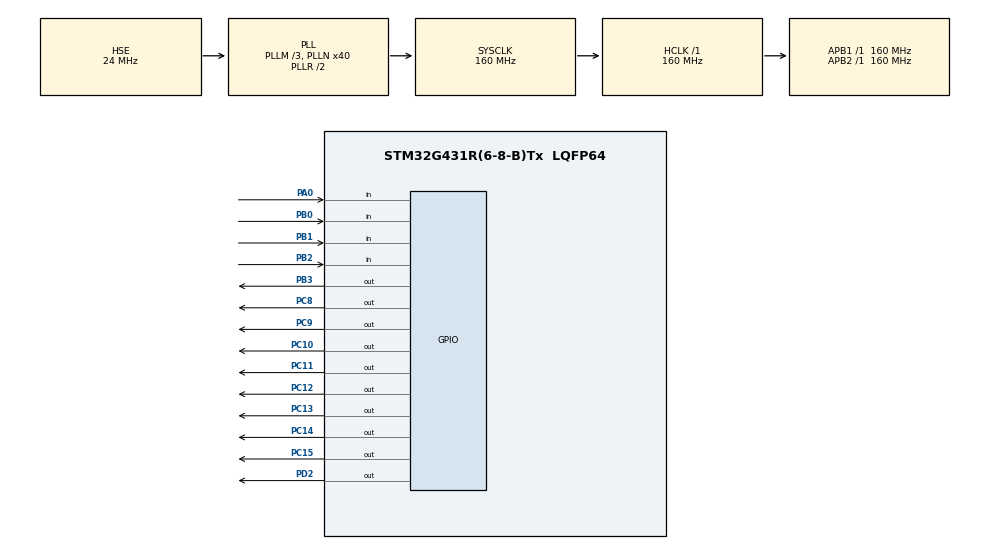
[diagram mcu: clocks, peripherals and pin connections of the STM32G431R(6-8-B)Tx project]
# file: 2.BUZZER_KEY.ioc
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Mcu.Family=STM32G4
Mcu.Name=STM32G431R(6-8-B)Tx
Mcu.Package=LQFP64
NVIC.PriorityGroup=NVIC_PRIORITYGROUP_4
PA0.GPIO_PuPd=GPIO_PULLUP
PA0.Signal=GPIO_Input
PA13.Mode=Serial_Wire
PA13.Signal=SYS_JTMS-SWDIO
PA14.Mode=Serial_Wire
PA14.Signal=SYS_JTCK-SWCLK
PB0.GPIO_PuPd=GPIO_PULLUP
PB0.Signal=GPIO_Input
PB1.GPIO_PuPd=GPIO_PULLUP
PB1.Signal=GPIO_Input
PB2.GPIO_PuPd=GPIO_PULLUP
PB2.Signal=GPIO_Input
PB3.PinState=GPIO_PIN_SET
PB3.Signal=GPIO_Output
PC10.PinState=GPIO_PIN_SET
PC10.Signal=GPIO_Output
PC11.PinState=GPIO_PIN_SET
PC11.Signal=GPIO_Output
PC12.Signal=GPIO_Output
PC13.Signal=GPIO_Output
PC14-OSC32_IN.Signal=GPIO_Output
PC15-OSC32_OUT.Signal=GPIO_Output
PC8.PinState=GPIO_PIN_SET
PC8.Signal=GPIO_Output
PC9.PinState=GPIO_PIN_SET
PC9.Signal=GPIO_Output
PD2.PinState=GPIO_PIN_SET
PD2.Signal=GPIO_Output
PF0-OSC_IN.Mode=HSE-External-Oscillator
PF0-OSC_IN.Signal=RCC_OSC_IN
PF1-OSC_OUT.Mode=HSE-External-Oscillator
PF1-OSC_OUT.Signal=RCC_OSC_OUT
ProjectManager.HeapSize=0x200
ProjectManager.StackSize=0x400
ProjectManager.TargetToolchain=MDK-ARM V5.27
RCC.ADC12Freq_Value=160000000
RCC.AHBFreq_Value=160000000
RCC.APB1Freq_Value=160000000
RCC.APB1TimFreq_Value=160000000
RCC.APB2Freq_Value=160000000
RCC.APB2TimFreq_Value=160000000
RCC.CortexFreq_Value=160000000
RCC.EXTERNAL_CLOCK_VALUE=12288000
RCC.HCLKFreq_Value=160000000
RCC.HSE_VALUE=24000000
RCC.HSI48_VALUE=48000000
RCC.HSI_VALUE=16000000
RCC.LSE_VALUE=32768
RCC.PLLM=RCC_PLLM_DIV3
RCC.PLLN=40
RCC.PLLSourceVirtual=RCC_PLLSOURCE_HSE
RCC.SYSCLKFreq_VALUE=160000000
RCC.SYSCLKSource=RCC_SYSCLKSOURCE_PLLCLK
RCC.USBFreq_Value=160000000
RCC.VCOOutputFreq_Value=320000000
VP_SYS_VS_DBSignals.Mode=DisableDeadBatterySignals
board=custom

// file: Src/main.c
/* USER CODE BEGIN Header */
/**
  ******************************************************************************
  * @file           : main.c
  * @brief          : Main program body
  ******************************************************************************
  * @attention
  *
  * <h2><center>&copy; Copyright (c) 2022 STMicroelectronics.
  * All rights reserved.</center></h2>
  *
  * This software component is licensed by ST under BSD 3-Clause license,
  * the "License"; You may not use this file except in compliance with the
  * License. You may obtain a copy of the License at:
  *                        opensource.org/licenses/BSD-3-Clause
  *
  ******************************************************************************
  */
/* USER CODE END Header */

#include "main.h"

/* USER CODE BEGIN PTD */

enum Key_All_State{
	Key_Check,
	Key_Press,
	Key_Release
};

enum Key_All_State Key_State = Key_Check;

/* USER CODE END PTD */

/* USER CODE BEGIN PD */
//KeyDef
#define B4 HAL_GPIO_ReadPin(GPIOA,GPIO_PIN_0)
#define B3 HAL_GPIO_ReadPin(GPIOB,GPIO_PIN_2)
#define B2 HAL_GPIO_ReadPin(GPIOB,GPIO_PIN_1)
#define B1 HAL_GPIO_ReadPin(GPIOB,GPIO_PIN_0)

//LedDef
#define L1_On HAL_GPIO_WritePin(GPIOC,GPIO_PIN_8,GPIO_PIN_RESET)
#define L2_On HAL_GPIO_WritePin(GPIOC,GPIO_PIN_9,GPIO_PIN_RESET)
#define L3_On HAL_GPIO_WritePin(GPIOC,GPIO_PIN_10,GPIO_PIN_RESET)
#define L4_On HAL_GPIO_WritePin(GPIOC,GPIO_PIN_11,GPIO_PIN_RESET)
#define L1_Off HAL_GPIO_WritePin(GPIOC,GPIO_PIN_8,GPIO_PIN_SET)
#define L2_Off HAL_GPIO_WritePin(GPIOC,GPIO_PIN_9,GPIO_PIN_SET)
#define L3_Off HAL_GPIO_WritePin(GPIOC,GPIO_PIN_10,GPIO_PIN_SET)
#define L4_Off HAL_GPIO_WritePin(GPIOC,GPIO_PIN_11,GPIO_PIN_SET)

#define L1_Tog HAL_GPIO_TogglePin(GPIOC,GPIO_PIN_8)
#define L2_Tog HAL_GPIO_TogglePin(GPIOC,GPIO_PIN_9)
#define L3_Tog HAL_GPIO_TogglePin(GPIOC,GPIO_PIN_10)

//BuzzerDef
#define BuzzerOn HAL_GPIO_WritePin(GPIOB,GPIO_PIN_3,GPIO_PIN_RESET)
#define BuzzerOff HAL_GPIO_WritePin(GPIOB,GPIO_PIN_3,GPIO_PIN_SET)
/* USER CODE END PD */

/* USER CODE BEGIN PV */

uint32_t Key_Down_Time=20;
uint8_t Key_Value=0;
uint8_t Key_Flag=0;

/* USER CODE END PV */

void SystemClock_Config(void);
static void MX_GPIO_Init(void);
/* USER CODE BEGIN PFP */

void KeyScan(void);

/* USER CODE END PFP */

int main(void)
{

  /* MCU Configuration--------------------------------------------------------*/

  /* Reset of all peripherals, Initializes the Flash interface and the Systick. */
  HAL_Init();

  /* Configure the system clock */
  SystemClock_Config();

  /* Initialize all configured peripherals */
  MX_GPIO_Init();

  /* Infinite loop */
  /* USER CODE BEGIN WHILE */
  while (1)
  {
	  if(Key_Flag)
	  {
		if(Key_Value == 1 && Key_Down_Time <= 1000) L1_Tog;
		if(Key_Value == 1 && Key_Down_Time > 1000) BuzzerOn;

		if(Key_Value == 2) BuzzerOff;
		if(Key_Value == 3) L2_Tog;
		if(Key_Value == 4) L3_Tog;
		Key_Flag=0;
		Key_Down_Time=20;
	  }
    /* USER CODE END WHILE */
  }
}

void SystemClock_Config(void)
{
  RCC_OscInitTypeDef RCC_OscInitStruct = {0};
  RCC_ClkInitTypeDef RCC_ClkInitStruct = {0};

  /** Configure the main internal regulator output voltage
  */
  HAL_PWREx_ControlVoltageScaling(PWR_REGULATOR_VOLTAGE_SCALE1_BOOST);
  /** Initializes the CPU, AHB and APB busses clocks
  */
  RCC_OscInitStruct.OscillatorType = RCC_OSCILLATORTYPE_HSE;
  RCC_OscInitStruct.HSEState = RCC_HSE_ON;
  RCC_OscInitStruct.PLL.PLLState = RCC_PLL_ON;
  RCC_OscInitStruct.PLL.PLLSource = RCC_PLLSOURCE_HSE;
  RCC_OscInitStruct.PLL.PLLM = RCC_PLLM_DIV3;
  RCC_OscInitStruct.PLL.PLLN = 40;
  RCC_OscInitStruct.PLL.PLLP = RCC_PLLP_DIV2;
  RCC_OscInitStruct.PLL.PLLQ = RCC_PLLQ_DIV2;
  RCC_OscInitStruct.PLL.PLLR = RCC_PLLR_DIV2;
  if (HAL_RCC_OscConfig(&RCC_OscInitStruct) != HAL_OK)
  {
    Error_Handler();
  }
  /** Initializes the CPU, AHB and APB busses clocks
  */
  RCC_ClkInitStruct.ClockType = RCC_CLOCKTYPE_HCLK|RCC_CLOCKTYPE_SYSCLK
                              |RCC_CLOCKTYPE_PCLK1|RCC_CLOCKTYPE_PCLK2;
  RCC_ClkInitStruct.SYSCLKSource = RCC_SYSCLKSOURCE_PLLCLK;
  RCC_ClkInitStruct.AHBCLKDivider = RCC_SYSCLK_DIV1;
  RCC_ClkInitStruct.APB1CLKDivider = RCC_HCLK_DIV1;
  RCC_ClkInitStruct.APB2CLKDivider = RCC_HCLK_DIV1;

  if (HAL_RCC_ClockConfig(&RCC_ClkInitStruct, FLASH_LATENCY_7) != HAL_OK)
  {
    Error_Handler();
  }
}

static void MX_GPIO_Init(void)
{
  GPIO_InitTypeDef GPIO_InitStruct = {0};

  /* GPIO Ports Clock Enable */
  __HAL_RCC_GPIOC_CLK_ENABLE();
  __HAL_RCC_GPIOF_CLK_ENABLE();
  __HAL_RCC_GPIOA_CLK_ENABLE();
  __HAL_RCC_GPIOB_CLK_ENABLE();
  __HAL_RCC_GPIOD_CLK_ENABLE();

  /*Configure GPIO pin Output Level */
  HAL_GPIO_WritePin(GPIOC, GPIO_PIN_13|GPIO_PIN_14|GPIO_PIN_15|GPIO_PIN_12, GPIO_PIN_RESET);

  /*Configure GPIO pin Output Level */
  HAL_GPIO_WritePin(GPIOC, GPIO_PIN_8|GPIO_PIN_9|GPIO_PIN_10|GPIO_PIN_11, GPIO_PIN_SET);

  /*Configure GPIO pin Output Level */
  HAL_GPIO_WritePin(GPIOD, GPIO_PIN_2, GPIO_PIN_SET);

  /*Configure GPIO pin Output Level */
  HAL_GPIO_WritePin(GPIOB, GPIO_PIN_3, GPIO_PIN_SET);

  /*Configure GPIO pins : PC13 PC14 PC15 PC8
                           PC9 PC10 PC11 PC12 */
  GPIO_InitStruct.Pin = GPIO_PIN_13|GPIO_PIN_14|GPIO_PIN_15|GPIO_PIN_8
                          |GPIO_PIN_9|GPIO_PIN_10|GPIO_PIN_11|GPIO_PIN_12;
  GPIO_InitStruct.Mode = GPIO_MODE_OUTPUT_PP;
  GPIO_InitStruct.Pull = GPIO_NOPULL;
  GPIO_InitStruct.Speed = GPIO_SPEED_FREQ_LOW;
  HAL_GPIO_Init(GPIOC, &GPIO_InitStruct);

  /*Configure GPIO pin : PA0 */
  GPIO_InitStruct.Pin = GPIO_PIN_0;
  GPIO_InitStruct.Mode = GPIO_MODE_INPUT;
  GPIO_InitStruct.Pull = GPIO_PULLUP;
  HAL_GPIO_Init(GPIOA, &GPIO_InitStruct);

  /*Configure GPIO pins : PB0 PB1 PB2 */
  GPIO_InitStruct.Pin = GPIO_PIN_0|GPIO_PIN_1|GPIO_PIN_2;
  GPIO_InitStruct.Mode = GPIO_MODE_INPUT;
  GPIO_InitStruct.Pull = GPIO_PULLUP;
  HAL_GPIO_Init(GPIOB, &GPIO_InitStruct);

  /*Configure GPIO pin : PD2 */
  GPIO_InitStruct.Pin = GPIO_PIN_2;
  GPIO_InitStruct.Mode = GPIO_MODE_OUTPUT_PP;
  GPIO_InitStruct.Pull = GPIO_NOPULL;
  GPIO_InitStruct.Speed = GPIO_SPEED_FREQ_LOW;
  HAL_GPIO_Init(GPIOD, &GPIO_InitStruct);

  /*Configure GPIO pin : PB3 */
  GPIO_InitStruct.Pin = GPIO_PIN_3;
  GPIO_InitStruct.Mode = GPIO_MODE_OUTPUT_PP;
  GPIO_InitStruct.Pull = GPIO_NOPULL;
  GPIO_InitStruct.Speed = GPIO_SPEED_FREQ_LOW;
  HAL_GPIO_Init(GPIOB, &GPIO_InitStruct);

}

/* USER CODE BEGIN 4 */
void KeyScan(void)
{
	switch(Key_State)
	{
		case Key_Check:
			if(B1 == GPIO_PIN_RESET | B2 == GPIO_PIN_RESET | B3 == GPIO_PIN_RESET | B4 == GPIO_PIN_RESET)
				Key_State = Key_Press;
			break;
		case Key_Press:
			Key_State = Key_Release;
			if(B1 == GPIO_PIN_RESET) Key_Value=1;
			else if(B2 == GPIO_PIN_RESET) Key_Value=2;
			else if(B3 == GPIO_PIN_RESET) Key_Value=3;
			else if(B4 == GPIO_PIN_RESET) Key_Value=4;
			else Key_State = Key_Check;
			break;
		case Key_Release:
			if(B1 == GPIO_PIN_RESET | B2 == GPIO_PIN_RESET | B3 == GPIO_PIN_RESET | B4 == GPIO_PIN_RESET)
				Key_Down_Time += 10;
			else
			{
				Key_Flag=1;
				Key_State = Key_Check;
			}
			break;
	}
}
/* USER CODE END 4 */

void Error_Handler(void)
{
}

/************************ (C) COPYRIGHT STMicroelectronics *****END OF FILE****/
